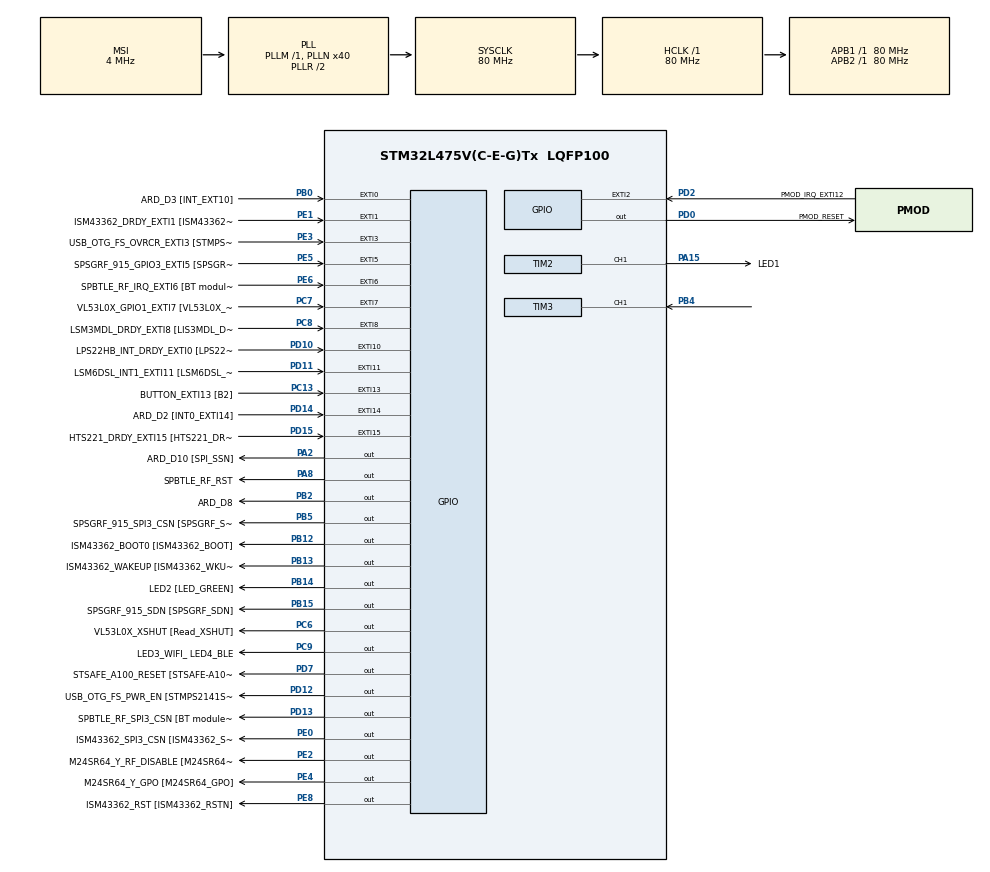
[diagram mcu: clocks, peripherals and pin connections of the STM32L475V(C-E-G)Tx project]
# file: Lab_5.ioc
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Mcu.Family=STM32L4
Mcu.Name=STM32L475V(C-E-G)Tx
Mcu.Package=LQFP100
NVIC.EXTI15_10_IRQn=true\:0\:0\:false\:false\:true\:true\:true\:true
NVIC.EXTI9_5_IRQn=true\:0\:0\:false\:false\:true\:true\:true\:true
NVIC.PriorityGroup=NVIC_PRIORITYGROUP_4
NVIC.TIM3_IRQn=true\:0\:0\:false\:false\:true\:true\:true\:true
PA0.GPIO_Label=ARD_D1 [UART4_TX]
PA0.Signal=UART4_TX
PA1.GPIO_Label=ARD_D0 [UART4_RX]
PA1.Signal=UART4_RX
PA10.GPIO_Label=USB_OTG_FS_ID
PA10.Signal=USB_OTG_FS_ID
PA11.GPIO_Label=USB_OTG_FS_DM
PA11.Signal=USB_OTG_FS_DM
PA12.GPIO_Label=USB_OTG_FS_DP
PA12.Signal=USB_OTG_FS_DP
PA13\ (JTMS-SWDIO).GPIO_Label=SYS_JTMS_SWDIO
PA13\ (JTMS-SWDIO).Signal=SYS_JTMS-SWDIO
PA14\ (JTCK-SWCLK).GPIO_Label=SYS_JTCK_SWCLK
PA14\ (JTCK-SWCLK).Signal=SYS_JTCK-SWCLK
PA15\ (JTDI).GPIO_Label=LED1
PA15\ (JTDI).Signal=S_TIM2_CH1
PA2.GPIO_Label=ARD_D10 [SPI_SSN]
PA2.Signal=GPIO_Output
PA3.GPIO_Label=ARD_D4
PA3.Signal=S_TIM2_CH4
PA4.GPIO_Label=ARD_D7
PA4.Signal=ADCx_IN9
PA6.GPIO_Label=ARD_D12 [SPI1_MISO]
PA6.Signal=SPI1_MISO
PA7.GPIO_Label=ARD_D11 [SPI1_MOSI]
PA7.Signal=SPI1_MOSI
PA8.GPIO_Label=SPBTLE_RF_RST
PA8.Signal=GPIO_Output
PA9.GPIO_Label=USB_OTG_FS_VBUS [STMPS2141STR_OUT]
PA9.Signal=USB_OTG_FS_VBUS
PB0.GPIO_Label=ARD_D3 [INT_EXT10]
PB0.Signal=GPXTI0
PB1.GPIO_Label=ARD_D6 [ADC1_IN6]
PB1.Signal=ADCx_IN16
PB10.GPIO_Label=INTERNAL_I2C2_SCL [VL53L0X_SCL]
PB10.Signal=I2C2_SCL
PB11.GPIO_Label=INTERNAL_I2C2_SDA [VL53L0X_SDA]
PB11.Signal=I2C2_SDA
PB12.GPIO_Label=ISM43362_BOOT0 [ISM43362_BOOT]
PB12.Signal=GPIO_Output
PB13.GPIO_Label=ISM43362_WAKEUP [ISM43362_WKUP]
PB13.Signal=GPIO_Output
PB14.GPIO_Label=LED2 [LED_GREEN]
PB14.Signal=GPIO_Output
PB15.GPIO_Label=SPSGRF_915_SDN [SPSGRF_SDN]
PB15.Signal=GPIO_Output
PB2.GPIO_Label=ARD_D8
PB2.Signal=GPIO_Output
PB3\ (JTDO-TRACESWO).GPIO_Label=SYS_JTD0_SWO
PB3\ (JTDO-TRACESWO).Signal=SYS_JTDO-SWO
PB4\ (NJTRST).Signal=S_TIM3_CH1
PB5.GPIO_Label=SPSGRF_915_SPI3_CSN [SPSGRF_SPI_CS]
PB5.PinState=GPIO_PIN_SET
PB5.Signal=GPIO_Output
PB6.GPIO_Label=ST_LINK_UART1_TX
PB6.Signal=USART1_TX
PB7.GPIO_Label=ST_LINK_UART1_RX
PB7.Signal=USART1_RX
PB8.GPIO_Label=ARD_D15 [I2C1_SCL]
PB8.Signal=I2C1_SCL
PB9.GPIO_Label=ARD_D14 [I2C1_SDA]
PB9.Signal=I2C1_SDA
PC0.GPIO_Label=ARD_A5 [ADC]
PC0.Signal=ADCx_IN1
PC1.GPIO_Label=ARD_A4 [ADC]
PC1.Signal=ADCx_IN2
PC10.GPIO_Label=INTERNAL_SPI3_SCK [BT module_SPI_SCLK] [ISM43362_SCK]
PC10.Signal=SPI3_SCK
PC11.GPIO_Label=INTERNAL_SPI3_MISO [BT module_SPI_MISO] [ISM43362_MISO]
PC11.Signal=SPI3_MISO
PC12.GPIO_Label=INTERNAL_SPI3_MOSI [BT module_SPI_MOSI] [ISM43362_MOSI]
PC12.Signal=SPI3_MOSI
PC13.GPIO_Label=BUTTON_EXTI13 [B2]
PC13.GPIO_ModeDefaultEXTI=GPIO_MODE_IT_FALLING
PC13.Signal=GPXTI13
PC14-OSC32_IN\ (PC14).Signal=RCC_OSC32_IN
PC15-OSC32_OUT\ (PC15).Signal=RCC_OSC32_OUT
PC2.GPIO_Label=ARD_A3 [ADC]
PC2.Signal=ADCx_IN3
PC3.GPIO_Label=ARD_A2 [ADC]
PC3.Signal=ADCx_IN4
PC4.GPIO_Label=ARD_A1 [ADC]
PC4.Signal=ADCx_IN13
PC5.GPIO_Label=ARD_A0 [ADC]
PC5.Signal=ADCx_IN14
PC6.GPIO_Label=VL53L0X_XSHUT [Read_XSHUT]
PC6.Signal=GPIO_Output
PC7.GPIO_Label=VL53L0X_GPIO1_EXTI7 [VL53L0X_GPIO1]
PC7.Signal=GPXTI7
PC8.GPIO_Label=LSM3MDL_DRDY_EXTI8 [LIS3MDL_DRDY]
PC8.Signal=GPXTI8
PC9.GPIO_Label=LED3_WIFI_ LED4_BLE
PC9.Signal=GPIO_Output
PD0.GPIO_Label=PMOD_RESET
PD0.Signal=GPIO_Output
PD1.GPIO_Label=PMOD_SPI2_SCK
PD1.Signal=SPI2_SCK
PD10.GPIO_Label=LPS22HB_INT_DRDY_EXTI0 [LPS22HB_INT_DRDY] 
PD10.Signal=GPXTI10
PD11.GPIO_Label=LSM6DSL_INT1_EXTI11 [LSM6DSL_INT1]
PD11.Signal=GPXTI11
PD12.GPIO_Label=USB_OTG_FS_PWR_EN [STMPS2141STR_EN]
PD12.Signal=GPIO_Output
PD13.GPIO_Label=SPBTLE_RF_SPI3_CSN [BT module_SPI_CS]
PD13.PinState=GPIO_PIN_SET
PD13.Signal=GPIO_Output
PD14.GPIO_Label=ARD_D2 [INT0_EXTI14]
PD14.Signal=GPXTI14
PD15.GPIO_Label=HTS221_DRDY_EXTI15 [HTS221_DRDY]
PD15.Signal=GPXTI15
PD2.GPIO_Label=PMOD_IRQ_EXTI12
PD2.Signal=GPXTI2
PD3.GPIO_Label=PMOD_UART2_CTS
PD3.Signal=USART2_CTS
PD4.GPIO_Label=PMOD_UART2_RTS
PD4.Signal=USART2_RTS
PD5.GPIO_Label=PMOD_UART2_TX
PD5.Signal=USART2_TX
PD6.GPIO_Label=PMOD_UART2_RX
PD6.Signal=USART2_RX
PD7.GPIO_Label=STSAFE_A100_RESET [STSAFE-A100_RESET]
PD7.Signal=GPIO_Output
PD8.GPIO_Label=INTERNAL_UART3_TX [ISM43362_RX]
PD8.Signal=USART3_TX
PD9.GPIO_Label=INTERNAL_UART3_RX [ISM43362_TX]
PD9.Signal=USART3_RX
PE0.GPIO_Label=ISM43362_SPI3_CSN [ISM43362_SSN]
PE0.PinState=GPIO_PIN_SET
PE0.Signal=GPIO_Output
PE1.GPIO_Label=ISM43362_DRDY_EXTI1 [ISM43362_DATARDY]
PE1.Signal=GPXTI1
PE10.GPIO_Label=QUADSPI_CLK [MX25R6435F_SCLK]
PE10.Signal=QUADSPI_CLK
PE11.GPIO_Label=QUADSPI_NCS [MX25R6435F_SCLK]
PE11.Signal=QUADSPI_NCS
PE12.GPIO_Label=OQUADSPI_BK1_IO0 [MX25R6435F_IO0]
PE12.Signal=QUADSPI_BK1_IO0
PE13.GPIO_Label=QUADSPI_BK1_IO1 [MX25R6435F_IO1]
PE13.Signal=QUADSPI_BK1_IO1
PE14.GPIO_Label=QUAD_SPI_BK1_IO2 [MX25R6435F_IO2]
PE14.Signal=QUADSPI_BK1_IO2
PE15.GPIO_Label=QUAD_SPI_BK1_IO3 [MX25R6435F_IO3]
PE15.Signal=QUADSPI_BK1_IO3
PE2.GPIO_Label=M24SR64_Y_RF_DISABLE [M24SR64_RFDIS]
PE2.Signal=GPIO_Output
PE3.GPIO_Label=USB_OTG_FS_OVRCR_EXTI3 [STMPS2141STR_FAULT]
PE3.Signal=GPXTI3
PE4.GPIO_Label=M24SR64_Y_GPO [M24SR64_GPO]
PE4.Signal=GPIO_Output
PE5.GPIO_Label=SPSGRF_915_GPIO3_EXTI5 [SPSGRF_GPIO_3]
PE5.Signal=GPXTI5
PE6.GPIO_Label=SPBTLE_RF_IRQ_EXTI6 [BT module_SPI_IRQ]
PE6.Signal=GPXTI6
PE7.GPIO_Label=DFSDM1_DATIN2 [MP34DT01_DOUT]
PE7.Signal=S_DATAIN2DFSDM1
PE8.GPIO_Label=ISM43362_RST [ISM43362_RSTN]
PE8.Signal=GPIO_Output
PE9.GPIO_Label=DFSDM1_CKOUT [MP34DT01_CLK]
PE9.Signal=S_CKOUTDFSDM1
ProjectManager.HeapSize=0x200
ProjectManager.StackSize=0x400
ProjectManager.TargetToolchain=STM32CubeIDE
RCC.ADCFreq_Value=48000000
RCC.AHBFreq_Value=80000000
RCC.APB1Freq_Value=80000000
RCC.APB1TimFreq_Value=80000000
RCC.APB2Freq_Value=80000000
RCC.APB2TimFreq_Value=80000000
RCC.CortexFreq_Value=80000000
RCC.HCLKFreq_Value=80000000
RCC.HSE_VALUE=8000000
RCC.HSI_VALUE=16000000
RCC.LSE_VALUE=32768
RCC.MSI_VALUE=4000000
RCC.PLLN=40
RCC.PLLSAI1N=24
RCC.SYSCLKFreq_VALUE=80000000
RCC.SYSCLKSource=RCC_SYSCLKSOURCE_PLLCLK
RCC.USBFreq_Value=48000000
RCC.VCOOutputFreq_Value=160000000
SH.ADCx_IN1.0=ADC1_IN1
SH.ADCx_IN13.0=ADC1_IN13
SH.ADCx_IN14.0=ADC1_IN14
SH.ADCx_IN16.0=ADC1_IN16
SH.ADCx_IN2.0=ADC1_IN2
SH.ADCx_IN3.0=ADC1_IN3
SH.ADCx_IN4.0=ADC1_IN4
SH.ADCx_IN9.0=ADC1_IN9
SH.S_CKOUTDFSDM1.0=DFSDM1_CKOUT
SH.S_DATAIN2DFSDM1.0=DFSDM1_DATIN2
SH.S_TIM2_CH1.0=TIM2_CH1,PWM Generation1 CH1
SH.S_TIM2_CH4.0=TIM2_CH4
SH.S_TIM3_CH1.0=TIM3_CH1,Input_Capture1_from_TI1
TIM2.AutoReloadPreload=TIM_AUTORELOAD_PRELOAD_ENABLE
TIM2.Channel-PWM\ Generation1\ CH1=TIM_CHANNEL_1
TIM2.Period=999999
TIM2.Prescaler=31
TIM3.Channel-Input_Capture1_from_TI1=TIM_CHANNEL_1
TIM3.Prescaler=799
VP_TIM2_VS_ClockSourceINT.Mode=Internal
board=B-L475E-IOT01A2

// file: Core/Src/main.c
/* USER CODE BEGIN Header */
/**
  ******************************************************************************
  * @file           : main.c
  * @brief          : Main program body
  ******************************************************************************
  * @attention
  *
  * Copyright (c) 2026 STMicroelectronics.
  * All rights reserved.
  *
  * This software is licensed under terms that can be found in the LICENSE file
  * in the root directory of this software component.
  * If no LICENSE file comes with this software, it is provided AS-IS.
  *
  ******************************************************************************
  */
/* USER CODE END Header */
#include "main.h"

TIM_HandleTypeDef htim2;
TIM_HandleTypeDef htim3;

/* USER CODE BEGIN PV */
volatile uint32_t rise1 = 0;
volatile uint32_t fall1 = 0;
volatile uint32_t rise2 = 0;

volatile uint8_t cap_state = 0;

volatile uint32_t high_count = 0;
volatile uint32_t period_count = 0;

volatile float high_time_ms = 0;
volatile float period_ms = 0;
volatile float duty_percent = 0;
volatile float frequency_hz = 0;
/* USER CODE END PV */

void SystemClock_Config(void);
static void MX_GPIO_Init(void);
static void MX_TIM2_Init(void);
static void MX_TIM3_Init(void);

int main(void)
{

  /* MCU Configuration--------------------------------------------------------*/

  /* Reset of all peripherals, Initializes the Flash interface and the Systick. */
  HAL_Init();

  /* Configure the system clock */
  SystemClock_Config();

  /* Initialize all configured peripherals */
  MX_GPIO_Init();
  MX_TIM2_Init();
  MX_TIM3_Init();
  /* USER CODE BEGIN 2 */
  HAL_TIM_PWM_Start(&htim2,TIM_CHANNEL_1);
  HAL_TIM_IC_Start_IT(&htim3, TIM_CHANNEL_1);
  /* USER CODE END 2 */

  /* Infinite loop */
  while (1)
  {

    /* USER CODE BEGIN 3 */
	__HAL_TIM_SET_COMPARE(&htim2, TIM_CHANNEL_1, 249999); // 25%
	HAL_Delay(2000);

	__HAL_TIM_SET_COMPARE(&htim2, TIM_CHANNEL_1, 499999); // 50%
	HAL_Delay(2000);

	__HAL_TIM_SET_COMPARE(&htim2, TIM_CHANNEL_1, 749999); // 75%
	HAL_Delay(2000);

//	__HAL_TIM_SET_COMPARE(&htim2, TIM_CHANNEL_1, 999999); // 100%
//	HAL_Delay(2000);
  }
  /* USER CODE END 3 */
}

void SystemClock_Config(void)
{
  RCC_OscInitTypeDef RCC_OscInitStruct = {0};
  RCC_ClkInitTypeDef RCC_ClkInitStruct = {0};

  /** Configure the main internal regulator output voltage
  */
  if (HAL_PWREx_ControlVoltageScaling(PWR_REGULATOR_VOLTAGE_SCALE1) != HAL_OK)
  {
    Error_Handler();
  }

  /** Initializes the RCC Oscillators according to the specified parameters
  * in the RCC_OscInitTypeDef structure.
  */
  RCC_OscInitStruct.OscillatorType = RCC_OSCILLATORTYPE_MSI;
  RCC_OscInitStruct.MSIState = RCC_MSI_ON;
  RCC_OscInitStruct.MSICalibrationValue = 0;
  RCC_OscInitStruct.MSIClockRange = RCC_MSIRANGE_6;
  RCC_OscInitStruct.PLL.PLLState = RCC_PLL_ON;
  RCC_OscInitStruct.PLL.PLLSource = RCC_PLLSOURCE_MSI;
  RCC_OscInitStruct.PLL.PLLM = 1;
  RCC_OscInitStruct.PLL.PLLN = 40;
  RCC_OscInitStruct.PLL.PLLP = RCC_PLLP_DIV7;
  RCC_OscInitStruct.PLL.PLLQ = RCC_PLLQ_DIV2;
  RCC_OscInitStruct.PLL.PLLR = RCC_PLLR_DIV2;
  if (HAL_RCC_OscConfig(&RCC_OscInitStruct) != HAL_OK)
  {
    Error_Handler();
  }

  /** Initializes the CPU, AHB and APB buses clocks
  */
  RCC_ClkInitStruct.ClockType = RCC_CLOCKTYPE_HCLK|RCC_CLOCKTYPE_SYSCLK
                              |RCC_CLOCKTYPE_PCLK1|RCC_CLOCKTYPE_PCLK2;
  RCC_ClkInitStruct.SYSCLKSource = RCC_SYSCLKSOURCE_PLLCLK;
  RCC_ClkInitStruct.AHBCLKDivider = RCC_SYSCLK_DIV1;
  RCC_ClkInitStruct.APB1CLKDivider = RCC_HCLK_DIV1;
  RCC_ClkInitStruct.APB2CLKDivider = RCC_HCLK_DIV1;

  if (HAL_RCC_ClockConfig(&RCC_ClkInitStruct, FLASH_LATENCY_4) != HAL_OK)
  {
    Error_Handler();
  }
}

static void MX_TIM2_Init(void)
{

  TIM_ClockConfigTypeDef sClockSourceConfig = {0};
  TIM_MasterConfigTypeDef sMasterConfig = {0};
  TIM_OC_InitTypeDef sConfigOC = {0};

  htim2.Instance = TIM2;
  htim2.Init.Prescaler = 31;
  htim2.Init.CounterMode = TIM_COUNTERMODE_UP;
  htim2.Init.Period = 999999;
  htim2.Init.ClockDivision = TIM_CLOCKDIVISION_DIV1;
  htim2.Init.AutoReloadPreload = TIM_AUTORELOAD_PRELOAD_ENABLE;
  if (HAL_TIM_Base_Init(&htim2) != HAL_OK)
  {
    Error_Handler();
  }
  sClockSourceConfig.ClockSource = TIM_CLOCKSOURCE_INTERNAL;
  if (HAL_TIM_ConfigClockSource(&htim2, &sClockSourceConfig) != HAL_OK)
  {
    Error_Handler();
  }
  if (HAL_TIM_PWM_Init(&htim2) != HAL_OK)
  {
    Error_Handler();
  }
  sMasterConfig.MasterOutputTrigger = TIM_TRGO_RESET;
  sMasterConfig.MasterSlaveMode = TIM_MASTERSLAVEMODE_DISABLE;
  if (HAL_TIMEx_MasterConfigSynchronization(&htim2, &sMasterConfig) != HAL_OK)
  {
    Error_Handler();
  }
  sConfigOC.OCMode = TIM_OCMODE_PWM1;
  sConfigOC.Pulse = 0;
  sConfigOC.OCPolarity = TIM_OCPOLARITY_HIGH;
  sConfigOC.OCFastMode = TIM_OCFAST_DISABLE;
  if (HAL_TIM_PWM_ConfigChannel(&htim2, &sConfigOC, TIM_CHANNEL_1) != HAL_OK)
  {
    Error_Handler();
  }
  HAL_TIM_MspPostInit(&htim2);

}

static void MX_TIM3_Init(void)
{

  TIM_MasterConfigTypeDef sMasterConfig = {0};
  TIM_IC_InitTypeDef sConfigIC = {0};

  htim3.Instance = TIM3;
  htim3.Init.Prescaler = 799;
  htim3.Init.CounterMode = TIM_COUNTERMODE_UP;
  htim3.Init.Period = 65535;
  htim3.Init.ClockDivision = TIM_CLOCKDIVISION_DIV1;
  htim3.Init.AutoReloadPreload = TIM_AUTORELOAD_PRELOAD_DISABLE;
  if (HAL_TIM_IC_Init(&htim3) != HAL_OK)
  {
    Error_Handler();
  }
  sMasterConfig.MasterOutputTrigger = TIM_TRGO_RESET;
  sMasterConfig.MasterSlaveMode = TIM_MASTERSLAVEMODE_DISABLE;
  if (HAL_TIMEx_MasterConfigSynchronization(&htim3, &sMasterConfig) != HAL_OK)
  {
    Error_Handler();
  }
  sConfigIC.ICPolarity = TIM_INPUTCHANNELPOLARITY_RISING;
  sConfigIC.ICSelection = TIM_ICSELECTION_DIRECTTI;
  sConfigIC.ICPrescaler = TIM_ICPSC_DIV1;
  sConfigIC.ICFilter = 0;
  if (HAL_TIM_IC_ConfigChannel(&htim3, &sConfigIC, TIM_CHANNEL_1) != HAL_OK)
  {
    Error_Handler();
  }

}

static void MX_GPIO_Init(void)
{
  GPIO_InitTypeDef GPIO_InitStruct = {0};

  /* GPIO Ports Clock Enable */
  __HAL_RCC_GPIOE_CLK_ENABLE();
  __HAL_RCC_GPIOC_CLK_ENABLE();
  __HAL_RCC_GPIOA_CLK_ENABLE();
  __HAL_RCC_GPIOB_CLK_ENABLE();
  __HAL_RCC_GPIOD_CLK_ENABLE();

  /*Configure GPIO pin Output Level */
  HAL_GPIO_WritePin(GPIOE, M24SR64_Y_RF_DISABLE_Pin|M24SR64_Y_GPO_Pin|ISM43362_RST_Pin, GPIO_PIN_RESET);

  /*Configure GPIO pin Output Level */
  HAL_GPIO_WritePin(GPIOA, ARD_D10_Pin|SPBTLE_RF_RST_Pin, GPIO_PIN_RESET);

  /*Configure GPIO pin Output Level */
  HAL_GPIO_WritePin(GPIOB, ARD_D8_Pin|ISM43362_BOOT0_Pin|ISM43362_WAKEUP_Pin|LED2_Pin
                          |SPSGRF_915_SDN_Pin, GPIO_PIN_RESET);

  /*Configure GPIO pin Output Level */
  HAL_GPIO_WritePin(GPIOD, USB_OTG_FS_PWR_EN_Pin|PMOD_RESET_Pin|STSAFE_A100_RESET_Pin, GPIO_PIN_RESET);

  /*Configure GPIO pin Output Level */
  HAL_GPIO_WritePin(SPBTLE_RF_SPI3_CSN_GPIO_Port, SPBTLE_RF_SPI3_CSN_Pin, GPIO_PIN_SET);

  /*Configure GPIO pin Output Level */
  HAL_GPIO_WritePin(GPIOC, VL53L0X_XSHUT_Pin|LED3_WIFI__LED4_BLE_Pin, GPIO_PIN_RESET);

  /*Configure GPIO pin Output Level */
  HAL_GPIO_WritePin(SPSGRF_915_SPI3_CSN_GPIO_Port, SPSGRF_915_SPI3_CSN_Pin, GPIO_PIN_SET);

  /*Configure GPIO pin Output Level */
  HAL_GPIO_WritePin(ISM43362_SPI3_CSN_GPIO_Port, ISM43362_SPI3_CSN_Pin, GPIO_PIN_SET);

  /*Configure GPIO pins : M24SR64_Y_RF_DISABLE_Pin M24SR64_Y_GPO_Pin ISM43362_RST_Pin ISM43362_SPI3_CSN_Pin */
  GPIO_InitStruct.Pin = M24SR64_Y_RF_DISABLE_Pin|M24SR64_Y_GPO_Pin|ISM43362_RST_Pin|ISM43362_SPI3_CSN_Pin;
  GPIO_InitStruct.Mode = GPIO_MODE_OUTPUT_PP;
  GPIO_InitStruct.Pull = GPIO_NOPULL;
  GPIO_InitStruct.Speed = GPIO_SPEED_FREQ_LOW;
  HAL_GPIO_Init(GPIOE, &GPIO_InitStruct);

  /*Configure GPIO pins : USB_OTG_FS_OVRCR_EXTI3_Pin SPSGRF_915_GPIO3_EXTI5_Pin SPBTLE_RF_IRQ_EXTI6_Pin ISM43362_DRDY_EXTI1_Pin */
  GPIO_InitStruct.Pin = USB_OTG_FS_OVRCR_EXTI3_Pin|SPSGRF_915_GPIO3_EXTI5_Pin|SPBTLE_RF_IRQ_EXTI6_Pin|ISM43362_DRDY_EXTI1_Pin;
  GPIO_InitStruct.Mode = GPIO_MODE_IT_RISING;
  GPIO_InitStruct.Pull = GPIO_NOPULL;
  HAL_GPIO_Init(GPIOE, &GPIO_InitStruct);

  /*Configure GPIO pin : BUTTON_EXTI13_Pin */
  GPIO_InitStruct.Pin = BUTTON_EXTI13_Pin;
  GPIO_InitStruct.Mode = GPIO_MODE_IT_FALLING;
  GPIO_InitStruct.Pull = GPIO_NOPULL;
  HAL_GPIO_Init(BUTTON_EXTI13_GPIO_Port, &GPIO_InitStruct);

  /*Configure GPIO pins : ARD_A5_Pin ARD_A4_Pin ARD_A3_Pin ARD_A2_Pin
                           ARD_A1_Pin ARD_A0_Pin */
  GPIO_InitStruct.Pin = ARD_A5_Pin|ARD_A4_Pin|ARD_A3_Pin|ARD_A2_Pin
                          |ARD_A1_Pin|ARD_A0_Pin;
  GPIO_InitStruct.Mode = GPIO_MODE_ANALOG_ADC_CONTROL;
  GPIO_InitStruct.Pull = GPIO_NOPULL;
  HAL_GPIO_Init(GPIOC, &GPIO_InitStruct);

  /*Configure GPIO pins : ARD_D1_Pin ARD_D0_Pin */
  GPIO_InitStruct.Pin = ARD_D1_Pin|ARD_D0_Pin;
  GPIO_InitStruct.Mode = GPIO_MODE_AF_PP;
  GPIO_InitStruct.Pull = GPIO_NOPULL;
  GPIO_InitStruct.Speed = GPIO_SPEED_FREQ_VERY_HIGH;
  GPIO_InitStruct.Alternate = GPIO_AF8_UART4;
  HAL_GPIO_Init(GPIOA, &GPIO_InitStruct);

  /*Configure GPIO pins : ARD_D10_Pin SPBTLE_RF_RST_Pin */
  GPIO_InitStruct.Pin = ARD_D10_Pin|SPBTLE_RF_RST_Pin;
  GPIO_InitStruct.Mode = GPIO_MODE_OUTPUT_PP;
  GPIO_InitStruct.Pull = GPIO_NOPULL;
  GPIO_InitStruct.Speed = GPIO_SPEED_FREQ_LOW;
  HAL_GPIO_Init(GPIOA, &GPIO_InitStruct);

  /*Configure GPIO pin : ARD_D7_Pin */
  GPIO_InitStruct.Pin = ARD_D7_Pin;
  GPIO_InitStruct.Mode = GPIO_MODE_ANALOG_ADC_CONTROL;
  GPIO_InitStruct.Pull = GPIO_NOPULL;
  HAL_GPIO_Init(ARD_D7_GPIO_Port, &GPIO_InitStruct);

  /*Configure GPIO pins : ARD_D12_Pin ARD_D11_Pin */
  GPIO_InitStruct.Pin = ARD_D12_Pin|ARD_D11_Pin;
  GPIO_InitStruct.Mode = GPIO_MODE_AF_PP;
  GPIO_InitStruct.Pull = GPIO_NOPULL;
  GPIO_InitStruct.Speed = GPIO_SPEED_FREQ_VERY_HIGH;
  GPIO_InitStruct.Alternate = GPIO_AF5_SPI1;
  HAL_GPIO_Init(GPIOA, &GPIO_InitStruct);

  /*Configure GPIO pin : ARD_D3_Pin */
  GPIO_InitStruct.Pin = ARD_D3_Pin;
  GPIO_InitStruct.Mode = GPIO_MODE_IT_RISING;
  GPIO_InitStruct.Pull = GPIO_NOPULL;
  HAL_GPIO_Init(ARD_D3_GPIO_Port, &GPIO_InitStruct);

  /*Configure GPIO pin : ARD_D6_Pin */
  GPIO_InitStruct.Pin = ARD_D6_Pin;
  GPIO_InitStruct.Mode = GPIO_MODE_ANALOG_ADC_CONTROL;
  GPIO_InitStruct.Pull = GPIO_NOPULL;
  HAL_GPIO_Init(ARD_D6_GPIO_Port, &GPIO_InitStruct);

  /*Configure GPIO pins : ARD_D8_Pin ISM43362_BOOT0_Pin ISM43362_WAKEUP_Pin LED2_Pin
                           SPSGRF_915_SDN_Pin SPSGRF_915_SPI3_CSN_Pin */
  GPIO_InitStruct.Pin = ARD_D8_Pin|ISM43362_BOOT0_Pin|ISM43362_WAKEUP_Pin|LED2_Pin
                          |SPSGRF_915_SDN_Pin|SPSGRF_915_SPI3_CSN_Pin;
  GPIO_InitStruct.Mode = GPIO_MODE_OUTPUT_PP;
  GPIO_InitStruct.Pull = GPIO_NOPULL;
  GPIO_InitStruct.Speed = GPIO_SPEED_FREQ_LOW;
  HAL_GPIO_Init(GPIOB, &GPIO_InitStruct);

  /*Configure GPIO pins : DFSDM1_DATIN2_Pin DFSDM1_CKOUT_Pin */
  GPIO_InitStruct.Pin = DFSDM1_DATIN2_Pin|DFSDM1_CKOUT_Pin;
  GPIO_InitStruct.Mode = GPIO_MODE_AF_PP;
  GPIO_InitStruct.Pull = GPIO_NOPULL;
  GPIO_InitStruct.Speed = GPIO_SPEED_FREQ_LOW;
  GPIO_InitStruct.Alternate = GPIO_AF6_DFSDM1;
  HAL_GPIO_Init(GPIOE, &GPIO_InitStruct);

  /*Configure GPIO pins : QUADSPI_CLK_Pin QUADSPI_NCS_Pin OQUADSPI_BK1_IO0_Pin QUADSPI_BK1_IO1_Pin
                           QUAD_SPI_BK1_IO2_Pin QUAD_SPI_BK1_IO3_Pin */
  GPIO_InitStruct.Pin = QUADSPI_CLK_Pin|QUADSPI_NCS_Pin|OQUADSPI_BK1_IO0_Pin|QUADSPI_BK1_IO1_Pin
                          |QUAD_SPI_BK1_IO2_Pin|QUAD_SPI_BK1_IO3_Pin;
  GPIO_InitStruct.Mode = GPIO_MODE_AF_PP;
  GPIO_InitStruct.Pull = GPIO_NOPULL;
  GPIO_InitStruct.Speed = GPIO_SPEED_FREQ_VERY_HIGH;
  GPIO_InitStruct.Alternate = GPIO_AF10_QUADSPI;
  HAL_GPIO_Init(GPIOE, &GPIO_InitStruct);

  /*Configure GPIO pins : INTERNAL_I2C2_SCL_Pin INTERNAL_I2C2_SDA_Pin */
  GPIO_InitStruct.Pin = INTERNAL_I2C2_SCL_Pin|INTERNAL_I2C2_SDA_Pin;
  GPIO_InitStruct.Mode = GPIO_MODE_AF_OD;
  GPIO_InitStruct.Pull = GPIO_NOPULL;
  GPIO_InitStruct.Speed = GPIO_SPEED_FREQ_VERY_HIGH;
  GPIO_InitStruct.Alternate = GPIO_AF4_I2C2;
  HAL_GPIO_Init(GPIOB, &GPIO_InitStruct);

  /*Configure GPIO pins : INTERNAL_UART3_TX_Pin INTERNAL_UART3_RX_Pin */
  GPIO_InitStruct.Pin = INTERNAL_UART3_TX_Pin|INTERNAL_UART3_RX_Pin;
  GPIO_InitStruct.Mode = GPIO_MODE_AF_PP;
  GPIO_InitStruct.Pull = GPIO_NOPULL;
  GPIO_InitStruct.Speed = GPIO_SPEED_FREQ_VERY_HIGH;
  GPIO_InitStruct.Alternate = GPIO_AF7_USART3;
  HAL_GPIO_Init(GPIOD, &GPIO_InitStruct);

  /*Configure GPIO pins : LPS22HB_INT_DRDY_EXTI0_Pin LSM6DSL_INT1_EXTI11_Pin ARD_D2_Pin HTS221_DRDY_EXTI15_Pin
                           PMOD_IRQ_EXTI12_Pin */
  GPIO_InitStruct.Pin = LPS22HB_INT_DRDY_EXTI0_Pin|LSM6DSL_INT1_EXTI11_Pin|ARD_D2_Pin|HTS221_DRDY_EXTI15_Pin
                          |PMOD_IRQ_EXTI12_Pin;
  GPIO_InitStruct.Mode = GPIO_MODE_IT_RISING;
  GPIO_InitStruct.Pull = GPIO_NOPULL;
  HAL_GPIO_Init(GPIOD, &GPIO_InitStruct);

  /*Configure GPIO pins : USB_OTG_FS_PWR_EN_Pin SPBTLE_RF_SPI3_CSN_Pin PMOD_RESET_Pin STSAFE_A100_RESET_Pin */
  GPIO_InitStruct.Pin = USB_OTG_FS_PWR_EN_Pin|SPBTLE_RF_SPI3_CSN_Pin|PMOD_RESET_Pin|STSAFE_A100_RESET_Pin;
  GPIO_InitStruct.Mode = GPIO_MODE_OUTPUT_PP;
  GPIO_InitStruct.Pull = GPIO_NOPULL;
  GPIO_InitStruct.Speed = GPIO_SPEED_FREQ_LOW;
  HAL_GPIO_Init(GPIOD, &GPIO_InitStruct);

  /*Configure GPIO pins : VL53L0X_XSHUT_Pin LED3_WIFI__LED4_BLE_Pin */
  GPIO_InitStruct.Pin = VL53L0X_XSHUT_Pin|LED3_WIFI__LED4_BLE_Pin;
  GPIO_InitStruct.Mode = GPIO_MODE_OUTPUT_PP;
  GPIO_InitStruct.Pull = GPIO_NOPULL;
  GPIO_InitStruct.Speed = GPIO_SPEED_FREQ_LOW;
  HAL_GPIO_Init(GPIOC, &GPIO_InitStruct);

  /*Configure GPIO pins : VL53L0X_GPIO1_EXTI7_Pin LSM3MDL_DRDY_EXTI8_Pin */
  GPIO_InitStruct.Pin = VL53L0X_GPIO1_EXTI7_Pin|LSM3MDL_DRDY_EXTI8_Pin;
  GPIO_InitStruct.Mode = GPIO_MODE_IT_RISING;
  GPIO_InitStruct.Pull = GPIO_NOPULL;
  HAL_GPIO_Init(GPIOC, &GPIO_InitStruct);

  /*Configure GPIO pin : USB_OTG_FS_VBUS_Pin */
  GPIO_InitStruct.Pin = USB_OTG_FS_VBUS_Pin;
  GPIO_InitStruct.Mode = GPIO_MODE_INPUT;
  GPIO_InitStruct.Pull = GPIO_NOPULL;
  HAL_GPIO_Init(USB_OTG_FS_VBUS_GPIO_Port, &GPIO_InitStruct);

  /*Configure GPIO pins : USB_OTG_FS_ID_Pin USB_OTG_FS_DM_Pin USB_OTG_FS_DP_Pin */
  GPIO_InitStruct.Pin = USB_OTG_FS_ID_Pin|USB_OTG_FS_DM_Pin|USB_OTG_FS_DP_Pin;
  GPIO_InitStruct.Mode = GPIO_MODE_AF_PP;
  GPIO_InitStruct.Pull = GPIO_NOPULL;
  GPIO_InitStruct.Speed = GPIO_SPEED_FREQ_VERY_HIGH;
  GPIO_InitStruct.Alternate = GPIO_AF10_OTG_FS;
  HAL_GPIO_Init(GPIOA, &GPIO_InitStruct);

  /*Configure GPIO pins : INTERNAL_SPI3_SCK_Pin INTERNAL_SPI3_MISO_Pin INTERNAL_SPI3_MOSI_Pin */
  GPIO_InitStruct.Pin = INTERNAL_SPI3_SCK_Pin|INTERNAL_SPI3_MISO_Pin|INTERNAL_SPI3_MOSI_Pin;
  GPIO_InitStruct.Mode = GPIO_MODE_AF_PP;
  GPIO_InitStruct.Pull = GPIO_NOPULL;
  GPIO_InitStruct.Speed = GPIO_SPEED_FREQ_VERY_HIGH;
  GPIO_InitStruct.Alternate = GPIO_AF6_SPI3;
  HAL_GPIO_Init(GPIOC, &GPIO_InitStruct);

  /*Configure GPIO pin : PMOD_SPI2_SCK_Pin */
  GPIO_InitStruct.Pin = PMOD_SPI2_SCK_Pin;
  GPIO_InitStruct.Mode = GPIO_MODE_AF_PP;
  GPIO_InitStruct.Pull = GPIO_NOPULL;
  GPIO_InitStruct.Speed = GPIO_SPEED_FREQ_VERY_HIGH;
  GPIO_InitStruct.Alternate = GPIO_AF5_SPI2;
  HAL_GPIO_Init(PMOD_SPI2_SCK_GPIO_Port, &GPIO_InitStruct);

  /*Configure GPIO pins : PMOD_UART2_CTS_Pin PMOD_UART2_RTS_Pin PMOD_UART2_TX_Pin PMOD_UART2_RX_Pin */
  GPIO_InitStruct.Pin = PMOD_UART2_CTS_Pin|PMOD_UART2_RTS_Pin|PMOD_UART2_TX_Pin|PMOD_UART2_RX_Pin;
  GPIO_InitStruct.Mode = GPIO_MODE_AF_PP;
  GPIO_InitStruct.Pull = GPIO_NOPULL;
  GPIO_InitStruct.Speed = GPIO_SPEED_FREQ_VERY_HIGH;
  GPIO_InitStruct.Alternate = GPIO_AF7_USART2;
  HAL_GPIO_Init(GPIOD, &GPIO_InitStruct);

  /*Configure GPIO pins : ST_LINK_UART1_TX_Pin ST_LINK_UART1_RX_Pin */
  GPIO_InitStruct.Pin = ST_LINK_UART1_TX_Pin|ST_LINK_UART1_RX_Pin;
  GPIO_InitStruct.Mode = GPIO_MODE_AF_PP;
  GPIO_InitStruct.Pull = GPIO_NOPULL;
  GPIO_InitStruct.Speed = GPIO_SPEED_FREQ_VERY_HIGH;
  GPIO_InitStruct.Alternate = GPIO_AF7_USART1;
  HAL_GPIO_Init(GPIOB, &GPIO_InitStruct);

  /*Configure GPIO pins : ARD_D15_Pin ARD_D14_Pin */
  GPIO_InitStruct.Pin = ARD_D15_Pin|ARD_D14_Pin;
  GPIO_InitStruct.Mode = GPIO_MODE_AF_OD;
  GPIO_InitStruct.Pull = GPIO_NOPULL;
  GPIO_InitStruct.Speed = GPIO_SPEED_FREQ_VERY_HIGH;
  GPIO_InitStruct.Alternate = GPIO_AF4_I2C1;
  HAL_GPIO_Init(GPIOB, &GPIO_InitStruct);

  /* EXTI interrupt init*/
  HAL_NVIC_SetPriority(EXTI9_5_IRQn, 0, 0);
  HAL_NVIC_EnableIRQ(EXTI9_5_IRQn);

  HAL_NVIC_SetPriority(EXTI15_10_IRQn, 0, 0);
  HAL_NVIC_EnableIRQ(EXTI15_10_IRQn);

}

/* USER CODE BEGIN 4 */
void HAL_TIM_IC_CaptureCallback(TIM_HandleTypeDef *htim)
{
    if (htim->Instance == TIM3 && htim->Channel == HAL_TIM_ACTIVE_CHANNEL_1)
    {
        uint32_t cap = HAL_TIM_ReadCapturedValue(htim, TIM_CHANNEL_1);

        if (cap_state == 0)
        {
            rise1 = cap;
            cap_state = 1;

            __HAL_TIM_SET_CAPTUREPOLARITY(htim, TIM_CHANNEL_1,
                                           TIM_INPUTCHANNELPOLARITY_FALLING);
        }
        else if (cap_state == 1)
        {
            fall1 = cap;
            cap_state = 2;

            __HAL_TIM_SET_CAPTUREPOLARITY(htim, TIM_CHANNEL_1,
                                           TIM_INPUTCHANNELPOLARITY_RISING);
        }
        else if (cap_state == 2)
        {
            rise2 = cap;

            if (fall1 >= rise1)
                high_count = fall1 - rise1;
            else
                high_count = (65535 - rise1) + fall1 + 1;

            if (rise2 >= rise1)
                period_count = rise2 - rise1;
            else
                period_count = (65535 - rise1) + rise2 + 1;

            // TIM3 prescaler = 799, so 1 count = 10 us = 0.01 ms
            high_time_ms = high_count * 0.01f;
            period_ms = period_count * 0.01f;

            duty_percent = ((float)high_count / (float)period_count) * 100.0f;
            frequency_hz = 100000.0f / (float)period_count;

            cap_state = 0;
        }
    }
}
/* USER CODE END 4 */

void Error_Handler(void)
{
  __disable_irq();
  while (1)
  {
  }
}
